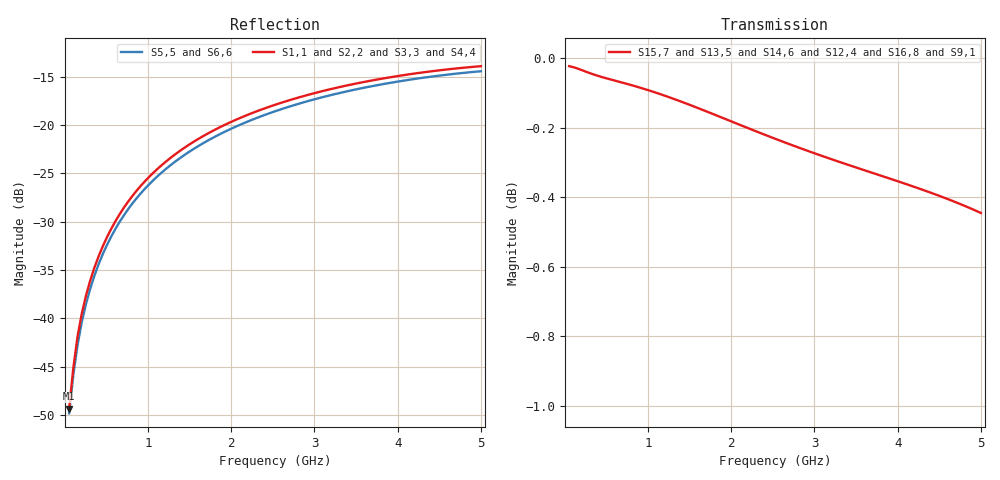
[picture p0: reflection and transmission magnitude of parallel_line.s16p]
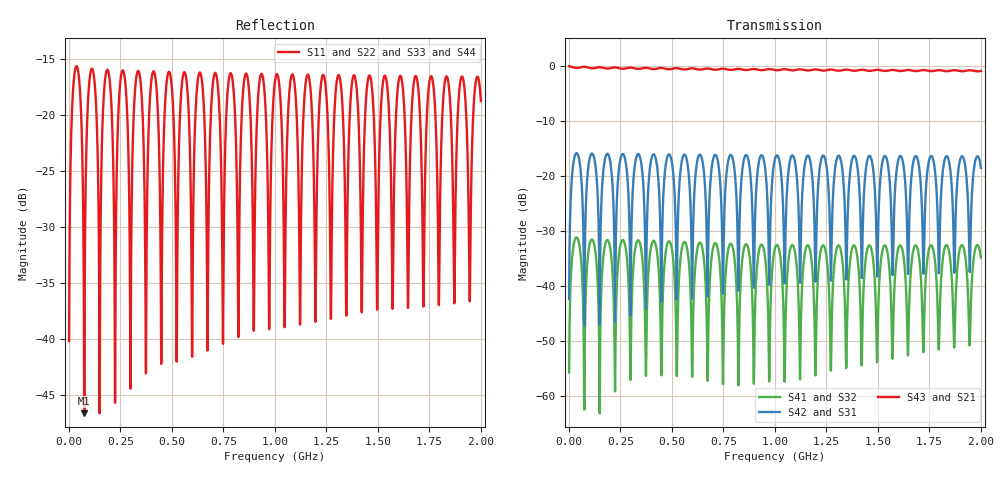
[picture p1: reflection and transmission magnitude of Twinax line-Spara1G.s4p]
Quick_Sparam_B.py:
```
import sys
import os

from qtpy.QtCore import QTimer
from qtpy.QtGui import QIcon
from qtpy.QtWidgets import QApplication

os.environ.setdefault("SKRF_PLOT_ENV", "none")

# 两种发行形态：
#   测试版：源码 + PyCharm 跑，加 --dev 预填一组本机调试用例。
#   安装版：PyInstaller 打包后的 exe，runtime hook 注入 QS_LIMITED=1 → 隐藏时域分析对话框入口。
DEV_MODE = '--dev' in sys.argv
LIMITED_MODE = os.environ.get('QS_LIMITED') == '1'

# --dev 强制进入本机路径模式，避免出差/借用机时被分发模式的共享盘配置劫持。
# 必须在 path_config 的消费者（main_window / usage_tracker 等）import 之前调用。
if DEV_MODE:
    from QS_runtime_services.path_config import force_local_mode
    force_local_mode(True)


def _apply_dev_preset(viewer):
    """--dev 启动时预填一组本机调试用例。命令行没有该旗标的环境（包括冻结的 exe）绝不会触发。"""
    viewer.file_list.addItem('C:/Users/33202/PycharmProjects/Quick_Sparam/samples/parallel_line.s16p')
    viewer.file_list.addItem('C:/Users/33202/PycharmProjects/Quick_Sparam/samples/Twinax line-Spara1G.s4p')
    viewer.port1_input.setText("1")
    viewer.port2_input.setText("2")


def main():
    app = QApplication(sys.argv)
    from app_utils import resource_path, configure_matplotlib
    configure_matplotlib()
    from main_window import SParameterViewer_MainWin
    from QS_runtime_services.trial_manager import check_trial_permission
    from QS_runtime_services.version_manager import check_version_update_async

    app_icon = QIcon(resource_path("resources/ico_test.ico"))
    app.setWindowIcon(app_icon)

    if not check_trial_permission():
        sys.exit(1)

    viewer = SParameterViewer_MainWin(
        enable_time_domain=True,
        enable_td_dialog=not LIMITED_MODE,
    )
    viewer.setWindowIcon(app_icon)
    if DEV_MODE:
        _apply_dev_preset(viewer)
    viewer.show()

    def run_startup_followups():
        viewer.prompt_usage_profile()
        check_version_update_async(parent=viewer)

    QTimer.singleShot(300, run_startup_followups)

    sys.exit(app.exec())


if __name__ == '__main__':
    main()
```
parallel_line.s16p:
! Touchstone file exported from HFSS 2019.1.0
!  File:  C:/Users/33202/Desktop/HFSS script/parallel line.aedt
!  Generated:  6:54:59 下午  5月 18, 2026
!  Design:  StackupDesign
!  Project:  parallel line
!  Setup:  Setup1
!  Solution:  Sweep
! Variables:
!  R_anti_pcb = 400um
!  R_bottom_anti = 450um
!  R_bottom_pad = 150um
!  R_core_anti = 180um
!  R_core_pad = 100um
!  R_core_via = 50um
!  R_micro_anti = 90um
!  R_micro_c_pad = 50um
!  R_micro_pad = 45um
!  R_micro_via = 30um
!  R_pad_pcb = 150um
!  R_via_pcb = 50um
!  diameter_bga = 300um
!  diameter_bga_top = 275um
!  gnd_via_gap = 2
!  layer_bottom_anti = 11
!  layer_core_lower_anti = 9
!  layer_core_upper_anti = 8
!  length_whole = 6000um
!  length_x = 3000um
!  pitch_bga_x = 600um
!  pitch_bga_y = 600um
!  position_L1 = position_L2+thick_L2+thick_dielectric_L1_L2
!  position_L10 = position_L11+thick_L11+thick_dielectric_L10_L11
!  position_L11 = position_L12+thick_L12+thick_dielectric_L11_L12
!  position_L12 = position_L13+thick_L13+thick_dielectric_L12_L13
!  position_L13 = position_L14+thick_L14+thick_dielectric_L13_L14
!  position_L14 = position_L15+thick_L15+thick_dielectric_L14_L15
!  position_L15 = position_L16+thick_L16+thick_dielectric_L15_L16
!  position_L16 = 0um
!  position_L2 = position_L3+thick_L3+thick_dielectric_L2_L3
!  position_L3 = position_L4+thick_L4+thick_dielectric_L3_L4
!  position_L4 = position_L5+thick_L5+thick_dielectric_L4_L5
!  position_L5 = position_L6+thick_L6+thick_dielectric_L5_L6
!  position_L6 = position_L7+thick_L7+thick_dielectric_L6_L7
!  position_L7 = position_L8+thick_L8+thick_dielectric_L7_L8
!  position_L8 = position_L9+thick_L9+thick_dielectric_L8_L9
!  position_L9 = position_L10+thick_L10+thick_dielectric_L9_L10
!  position_pcb_L1 = -thick_bga
!  position_pcb_L2 = position_pcb_L1+thick_pcb_L1+thick_pcb_dielectric_L1_L2
!  position_pcb_L3 = position_pcb_L2+thick_pcb_L2+thick_pcb_dielectric_L2_L3
!  position_pcb_L4 = position_pcb_L3+thick_pcb_L3+thick_pcb_dielectric_L3_L4
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# GHZ S MA R 50.000000
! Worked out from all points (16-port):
!   99 points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, 50.51 MHz to 5 GHz, reference 50 ohm
!   strongest paths, dB at 50.51 MHz, 1.263 GHz, 2.525 GHz, 3.788 GHz, 5 GHz:
!     S15,7: 0.0, -0.1, -0.2, -0.3, -0.4
!     S13,5: 0.0, -0.1, -0.2, -0.3, -0.5
!     S14,6: 0.0, -0.1, -0.2, -0.3, -0.5
!     S12,4: 0.0, -0.1, -0.3, -0.4, -0.5
!     S16,8: 0.0, -0.1, -0.3, -0.4, -0.5
!     S9,1: 0.0, -0.1, -0.3, -0.4, -0.5
!   lowest |S11| = -49.3 dB at 50.51 MHz (marker M1), VSWR 1.01, Z = 50.2 - j0.25 ohm
!   |S11| at or under -10 dB: start of sweep to end of sweep
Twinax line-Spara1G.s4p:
! TOUCHSTONE file generated by CST DESIGN STUDIO
! Date and time: Fri Sep 25 15:58:13 2020
! Project name: D:\¿ÆÑÐ¹¤×÷\mst-visit\CST\Twinax line-Spara1G.cst
! Tree item: Tasks\SPara1\S-Parameters
# MHZ S MA R 50
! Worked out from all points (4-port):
!   2000 points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, 1 MHz to 2 GHz, reference 50 ohm
!   strongest paths, dB at 1 MHz, 501 MHz, 1.001 GHz, 1.501 GHz, 2 GHz:
!     S43: 0.0, -0.5, -0.7, -0.7, -0.9
!     S21: 0.0, -0.5, -0.7, -0.7, -0.9
!     S42: -42.3, -17.7, -16.8, -30.2, -18.5
!     S31: -42.3, -17.7, -16.8, -30.2, -18.5
!     S41: -55.7, -33.5, -33.0, -45.2, -34.8
!     S32: -55.7, -33.5, -33.0, -45.2, -34.8
!   lowest |S11| = -46.7 dB at 74 MHz (marker M1), VSWR 1.01, Z = 50.3 - j0.356 ohm
!   |S11| at or under -10 dB: start of sweep to end of sweep
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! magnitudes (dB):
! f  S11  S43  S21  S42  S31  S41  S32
! 1 MHz  -40.2  0.0  0.0  -42.3  -42.3  -55.7  -55.7
! 74 MHz  -46.7  -0.1  -0.1  -46.6  -46.6  -60.8  -60.8
! 2 GHz  -18.7  -0.9  -0.9  -18.5  -18.5  -34.8  -34.8
